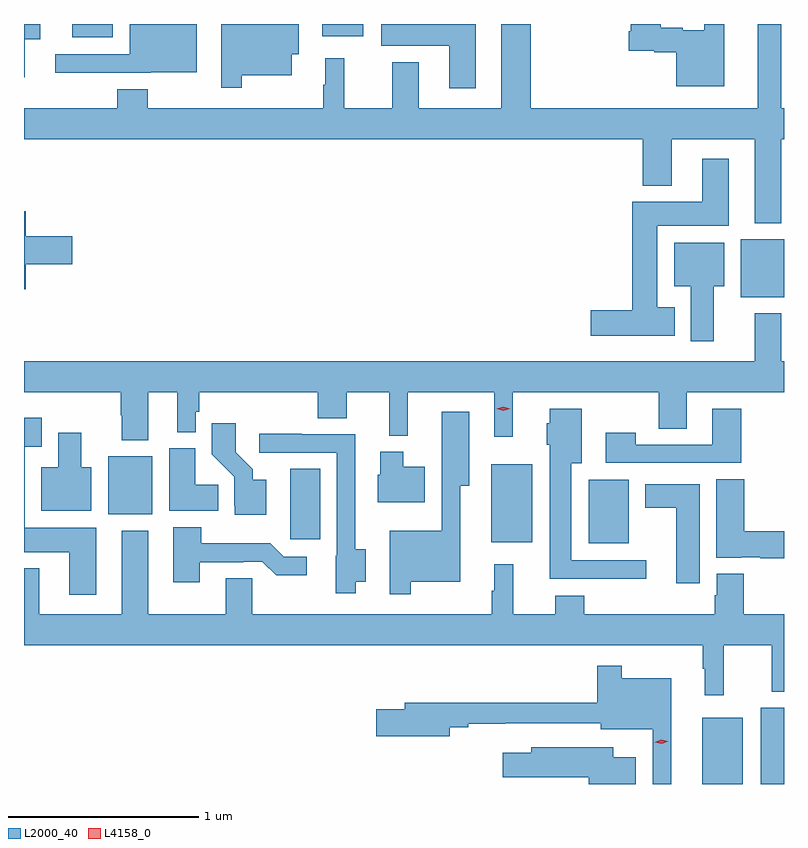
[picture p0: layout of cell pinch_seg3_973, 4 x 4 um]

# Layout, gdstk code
import gdstk
lib = gdstk.Library(unit=1e-6, precision=1e-09)
def R(c, l, rs):  # rectangles x0, y0, x1, y1
    for r in rs: c.add(gdstk.rectangle(r[:2], r[2:], *l))
def P(c, l, *ps):  # polygons
    for p in ps: c.add(gdstk.Polygon(p, *l))
L2000_40 = (2000, 40)
L4158_0 = (4158, 0)

pinch_seg3_973 = lib.new_cell('pinch_seg3_973')
R(pinch_seg3_973, L2000_40, [(414.137,734.819,414.352,735.169), (414.446,734.819,414.568,735.22), (413.54,736.085,413.752,736.42), (413.027,736.091,413.242,736.501), (411.968,736.107,412.126,736.478), (411.011,736.238,411.244,736.543), (414.341,737.381,414.568,737.686), (410.822,738.749,411.034,738.819), (412.139,738.755,412.354,738.819)])
P(pinch_seg3_973, L2000_40, [(411.715,738.548),(411.976,738.548),(411.976,738.659),(412.015,738.659),(412.015,738.819),(411.867,738.819),(411.867,738.817),(411.606,738.817),(411.606,738.483),(411.715,738.483)],
  [(410.572,738.74),(410.653,738.74),(410.653,738.819),(410.568,738.819),(410.568,738.54),(410.572,738.54)],
  [(414.253,738.819),(414.149,738.819),(414.149,738.787),(414.035,738.787),(414.035,738.8),(413.92,738.8),(413.92,738.819),(413.762,738.819),(413.762,738.781),(413.75,738.781),(413.75,738.677),(413.886,738.677),(413.886,738.67),(414.002,738.67),(414.002,738.491),(414.253,738.491)],
  [(411.234,738.564),(411.478,738.564),(411.478,738.819),(411.125,738.819),(411.125,738.66),(410.733,738.66),(410.733,738.563),(411.234,738.563)],
  [(412.945,738.819),(412.448,738.819),(412.448,738.704),(412.805,738.704),(412.805,738.48),(412.945,738.48)],
  [(414.553,738.212),(414.568,738.212),(414.568,738.376),(414.553,738.376),(414.553,738.819),(414.431,738.819),(414.431,738.376),(413.234,738.376),(413.234,738.817),(413.081,738.817),(413.081,738.376),(412.645,738.376),(412.645,738.619),(412.505,738.619),(412.505,738.376),(412.254,738.376),(412.254,738.64),(412.154,738.64),(412.154,738.5),(412.143,738.5),(412.143,738.376),(411.219,738.376),(411.219,738.475),(411.059,738.475),(411.059,738.376),(410.568,738.376),(410.568,738.212),(413.825,738.212),(413.825,737.969),(413.977,737.969),(413.977,738.212),(414.413,738.212),(414.413,737.771),(414.553,737.771)],
  [(413.992,737.329),(413.902,737.329),(413.902,737.756),(414.277,737.756),(414.277,738.109),(414.137,738.109),(414.137,737.884),(413.768,737.884),(413.768,737.312),(413.55,737.312),(413.55,737.177),(413.992,737.177)],
  [(410.578,737.555),(410.821,737.555),(410.821,737.702),(410.578,737.702),(410.578,737.833),(410.568,737.833),(410.568,737.423),(410.578,737.423)],
  [(414.199,737.438),(414.253,737.438),(414.253,737.668),(413.99,737.668),(413.99,737.438),(414.077,737.438),(414.077,737.148),(414.199,737.148)],
  [(410.568,736.88),(411.076,736.88),(411.076,736.76),(411.083,736.76),(411.083,736.628),(411.223,736.628),(411.223,736.88),(411.374,736.88),(411.374,736.67),(411.471,736.67),(411.471,736.779),(411.491,736.779),(411.491,736.88),(412.115,736.88),(412.115,736.744),(412.267,736.744),(412.267,736.88),(412.49,736.88),(412.49,736.652),(412.588,736.652),(412.588,736.88),(413.042,736.88),(413.042,736.647),(413.14,736.647),(413.14,736.88),(413.908,736.88),(413.908,736.69),(414.055,736.69),(414.055,736.88),(414.568,736.88),(414.568,737.044),(414.553,737.044),(414.553,737.296),(414.413,737.296),(414.413,737.044),(410.568,737.044)],
  [(414.344,736.795),(414.191,736.795),(414.191,736.605),(413.787,736.605),(413.787,736.669),(413.631,736.669),(413.631,736.509),(414.344,736.509)],
  [(413.842,735.996),(413.449,735.996),(413.449,736.508),(413.503,736.508),(413.503,736.795),(413.336,736.795),(413.336,736.719),(413.318,736.719),(413.318,736.605),(413.336,736.605),(413.336,735.899),(413.842,735.899)],
  [(412.603,735.884),(412.864,735.884),(412.864,736.388),(412.912,736.388),(412.912,736.777),(412.766,736.777),(412.766,736.153),(412.494,736.153),(412.494,735.819),(412.603,735.819)],
  [(410.947,736.168),(410.572,736.168),(410.572,736.595),(410.662,736.595),(410.662,736.747),(410.568,736.747),(410.568,736.04),(410.807,736.04),(410.807,735.816),(410.947,735.816)],
  [(411.844,736.42),(411.772,736.42),(411.772,736.475),(411.682,736.565),(411.682,736.717),(411.556,736.717),(411.556,736.554),(411.675,736.435),(411.675,736.284),(411.677,736.284),(411.677,736.235),(411.844,736.235)],
  [(410.923,736.486),(410.869,736.486),(410.869,736.669),(410.747,736.669),(410.747,736.486),(410.66,736.486),(410.66,736.256),(410.923,736.256)],
  [(412.313,735.884),(412.366,735.884),(412.366,736.055),(412.311,736.055),(412.311,736.659),(412.031,736.659),(412.031,736.662),(411.807,736.662),(411.807,736.563),(412.215,736.563),(412.215,736.02),(412.208,736.02),(412.208,735.824),(412.313,735.824)],
  [(411.59,736.394),(411.469,736.394),(411.469,736.585),(411.332,736.585),(411.332,736.256),(411.59,736.256)],
  [(412.678,736.489),(412.564,736.489),(412.564,736.567),(412.442,736.567),(412.442,736.446),(412.43,736.446),(412.43,736.301),(412.678,736.301)],
  [(414.568,736.148),(414.359,736.148),(414.359,736.424),(414.212,736.424),(414.212,736.01),(414.342,736.01),(414.342,736.013),(414.442,736.013),(414.442,736.006),(414.568,736.006)],
  [(414.124,736.396),(413.837,736.396),(413.837,736.274),(414.002,736.274),(414.002,735.876),(414.124,735.876)],
  [(411.493,735.987),(411.722,735.987),(411.722,735.99),(411.822,735.99),(411.895,735.917),(412.057,735.917),(412.057,736.014),(411.936,736.014),(411.863,736.087),(411.501,736.087),(411.501,736.171),(411.353,736.171),(411.353,735.882),(411.493,735.882)],
  [(414.252,735.548),(414.503,735.548),(414.503,735.305),(414.568,735.305),(414.568,735.712),(414.356,735.712),(414.356,735.925),(414.215,735.925),(414.215,735.813),(414.203,735.813),(414.203,735.712),(413.516,735.712),(413.516,735.811),(413.363,735.811),(413.363,735.712),(413.142,735.712),(413.142,735.976),(413.042,735.976),(413.042,735.836),(413.031,735.836),(413.031,735.712),(411.768,735.712),(411.768,735.902),(411.629,735.902),(411.629,735.712),(411.223,735.712),(411.223,736.153),(411.083,736.153),(411.083,735.712),(410.647,735.712),(410.647,735.955),(410.568,735.955),(410.568,735.548),(414.141,735.548),(414.141,735.425),(414.152,735.425),(414.152,735.285),(414.252,735.285)],
  [(413.974,735.376),(413.713,735.376),(413.713,735.442),(413.584,735.442),(413.584,735.247),(412.571,735.247),(412.571,735.213),(412.422,735.213),(412.422,735.071),(412.81,735.071),(412.81,735.118),(412.906,735.118),(412.906,735.137),(413.1,735.137),(413.1,735.138),(413.603,735.138),(413.603,735.107),(413.877,735.107),(413.877,734.819),(413.974,734.819)],
  [(413.788,734.959),(413.668,734.959),(413.668,735.013),(413.237,735.013),(413.237,734.983),(413.088,734.983),(413.088,734.854),(413.54,734.854),(413.54,734.819),(413.788,734.819)])
P(pinch_seg3_973, L4158_0, [(413.924,735.032),(413.888,735.039),(413.887,735.039),(413.888,735.039),(413.922,735.052),(413.958,735.044),(413.959,735.044),(413.958,735.044)],
  [(413.091,736.784),(413.055,736.793),(413.055,736.794),(413.055,736.794),(413.091,736.804),(413.126,736.794),(413.127,736.794),(413.126,736.793)])

lib.write_gds('pinch_seg3_973.gds')
